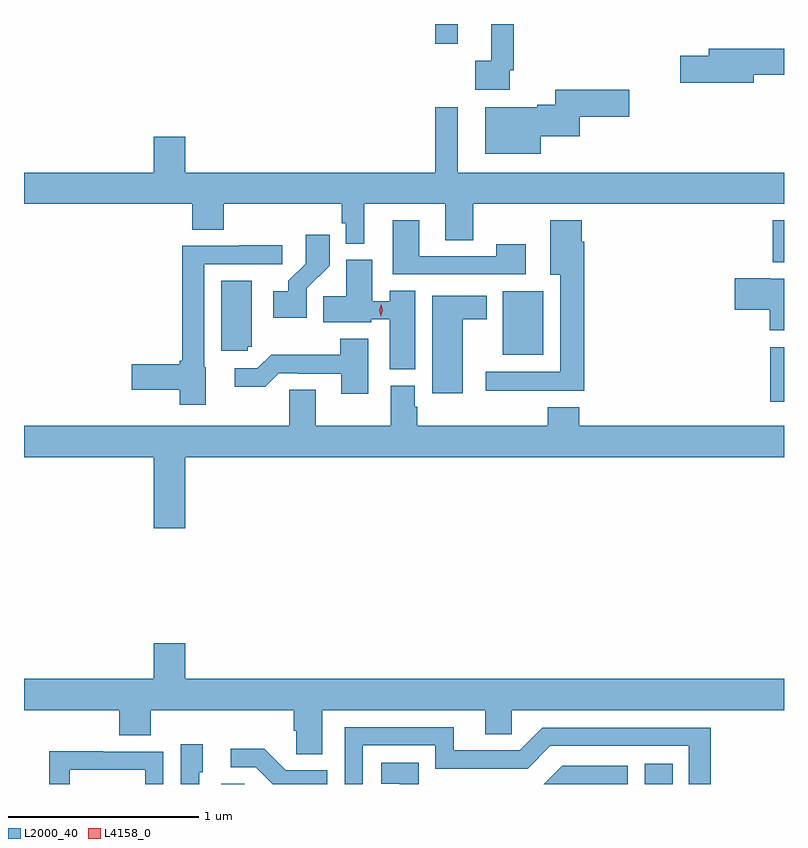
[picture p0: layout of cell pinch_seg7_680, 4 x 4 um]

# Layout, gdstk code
import gdstk
lib = gdstk.Library(unit=1e-6, precision=1e-09)
def R(c, l, rs):  # rectangles x0, y0, x1, y1
    for r in rs: c.add(gdstk.rectangle(r[:2], r[2:], *l))
def P(c, l, *ps):  # polygons
    for p in ps: c.add(gdstk.Polygon(p, *l))
L2000_40 = (2000, 40)
L4158_0 = (4158, 0)

pinch_seg7_680 = lib.new_cell('pinch_seg7_680')
R(pinch_seg7_680, L2000_40, [(321.206,1034.859,321.327,1034.861), (323.436,1034.859,323.582,1034.965), (324.095,1036.872,324.168,1037.158), (322.688,1037.117,322.9,1037.452), (324.109,1037.606,324.168,1037.827), (322.333,1038.756,322.451,1038.859)])
P(pinch_seg7_680, L2000_40, [(322.725,1038.616),(322.745,1038.616),(322.745,1038.859),(322.628,1038.859),(322.628,1038.665),(322.542,1038.665),(322.542,1038.512),(322.725,1038.512)],
  [(324.01,1038.592),(324.168,1038.592),(324.168,1038.728),(323.771,1038.728),(323.771,1038.692),(323.622,1038.692),(323.622,1038.55),(324.01,1038.55)],
  [(322.888,1038.269),(323.092,1038.269),(323.092,1038.37),(323.353,1038.37),(323.353,1038.512),(322.964,1038.512),(322.964,1038.434),(322.868,1038.434),(322.868,1038.421),(322.595,1038.421),(322.595,1038.176),(322.888,1038.176)],
  [(321.958,1037.912),(322.385,1037.912),(322.385,1037.722),(322.533,1037.722),(322.533,1037.912),(324.168,1037.912),(324.168,1038.076),(322.45,1038.076),(322.45,1038.421),(322.333,1038.421),(322.333,1038.076),(321.016,1038.076),(321.016,1038.265),(320.852,1038.265),(320.852,1038.076),(320.168,1038.076),(320.168,1037.912),(321.053,1037.912),(321.053,1037.776),(321.218,1037.776),(321.218,1037.912),(321.841,1037.912),(321.841,1037.811),(321.861,1037.811),(321.861,1037.702),(321.958,1037.702)],
  [(322.81,1037.701),(322.654,1037.701),(322.654,1037.637),(322.249,1037.637),(322.249,1037.827),(322.109,1037.827),(322.109,1037.541),(322.81,1037.541)],
  [(323.117,1037.714),(323.104,1037.714),(323.104,1037.827),(322.937,1037.827),(322.937,1037.54),(322.991,1037.54),(322.991,1037.028),(322.599,1037.028),(322.599,1036.93),(323.117,1036.93)],
  [(321.657,1037.467),(321.776,1037.586),(321.776,1037.749),(321.651,1037.749),(321.651,1037.597),(321.56,1037.507),(321.56,1037.452),(321.48,1037.452),(321.48,1037.312),(321.657,1037.312)],
  [(321.124,1037.052),(321.117,1037.052),(321.117,1037.595),(321.526,1037.595),(321.526,1037.694),(321.301,1037.694),(321.301,1037.691),(321.001,1037.691),(321.001,1037.087),(320.988,1037.087),(320.988,1037.069),(320.736,1037.069),(320.736,1036.934),(320.988,1036.934),(320.988,1036.856),(321.124,1036.856)],
  [(322.228,1037.456),(322.094,1037.456),(322.094,1037.401),(322,1037.401),(322,1037.617),(321.863,1037.617),(321.863,1037.426),(321.742,1037.426),(321.742,1037.288),(321.996,1037.288),(321.996,1037.304),(322.094,1037.304),(322.094,1037.041),(322.228,1037.041)],
  [(324.168,1037.518),(324.096,1037.518),(324.096,1037.52),(323.91,1037.52),(323.91,1037.354),(324.092,1037.354),(324.092,1037.246),(324.168,1037.246)],
  [(321.345,1037.16),(321.367,1037.16),(321.367,1037.509),(321.206,1037.509),(321.206,1037.139),(321.345,1037.139)],
  [(322.477,1037.306),(322.603,1037.306),(322.603,1037.428),(322.316,1037.428),(322.316,1036.916),(322.477,1036.916)],
  [(321.979,1037.203),(321.832,1037.203),(321.832,1037.119),(321.469,1037.119),(321.396,1037.046),(321.276,1037.046),(321.276,1036.949),(321.437,1036.949),(321.51,1037.022),(321.61,1037.022),(321.61,1037.019),(321.839,1037.019),(321.839,1036.914),(321.979,1036.914)],
  [(321.016,1036.58),(324.168,1036.58),(324.168,1036.744),(323.09,1036.744),(323.09,1036.843),(322.925,1036.843),(322.925,1036.744),(322.238,1036.744),(322.238,1036.845),(322.225,1036.845),(322.225,1036.956),(322.097,1036.956),(322.097,1036.744),(321.703,1036.744),(321.703,1036.934),(321.564,1036.934),(321.564,1036.744),(320.168,1036.744),(320.168,1036.58),(320.852,1036.58),(320.852,1036.206),(321.016,1036.206)],
  [(321.739,1035.248),(322.595,1035.248),(322.595,1035.121),(322.734,1035.121),(322.734,1035.248),(324.168,1035.248),(324.168,1035.412),(321.016,1035.412),(321.016,1035.601),(320.852,1035.601),(320.852,1035.412),(320.168,1035.412),(320.168,1035.248),(320.669,1035.248),(320.669,1035.115),(320.834,1035.115),(320.834,1035.248),(321.587,1035.248),(321.587,1035.139),(321.6,1035.139),(321.6,1035.016),(321.739,1035.016)],
  [(321.951,1035.063),(322.332,1035.063),(322.332,1034.94),(322.818,1034.94),(322.938,1035.06),(323.667,1035.06),(323.667,1034.859),(323.783,1034.859),(323.783,1035.156),(322.896,1035.156),(322.776,1035.036),(322.429,1035.036),(322.429,1035.159),(321.855,1035.159),(321.855,1034.859),(321.951,1034.859)],
  [(321.09,1034.922),(321.109,1034.922),(321.109,1035.067),(320.994,1035.067),(320.994,1034.859),(321.09,1034.859)],
  [(321.765,1034.931),(321.546,1034.931),(321.433,1035.044),(321.255,1035.044),(321.255,1034.946),(321.389,1034.946),(321.476,1034.859),(321.765,1034.859)],
  [(320.409,1034.934),(320.805,1034.934),(320.805,1034.859),(320.901,1034.859),(320.901,1035.03),(320.585,1035.03),(320.585,1035.032),(320.301,1035.032),(320.301,1034.859),(320.409,1034.859)],
  [(322.245,1034.971),(322.047,1034.971),(322.047,1034.861),(322.145,1034.861),(322.145,1034.859),(322.245,1034.859)],
  [(323.346,1034.955),(323,1034.955),(322.904,1034.859),(323.346,1034.859)])
P(pinch_seg7_680, L4158_0, [(322.045,1037.321),(322.045,1037.321),(322.037,1037.353),(322.048,1037.385),(322.048,1037.386),(322.048,1037.385),(322.057,1037.353),(322.046,1037.321)])

lib.write_gds('pinch_seg7_680.gds')
